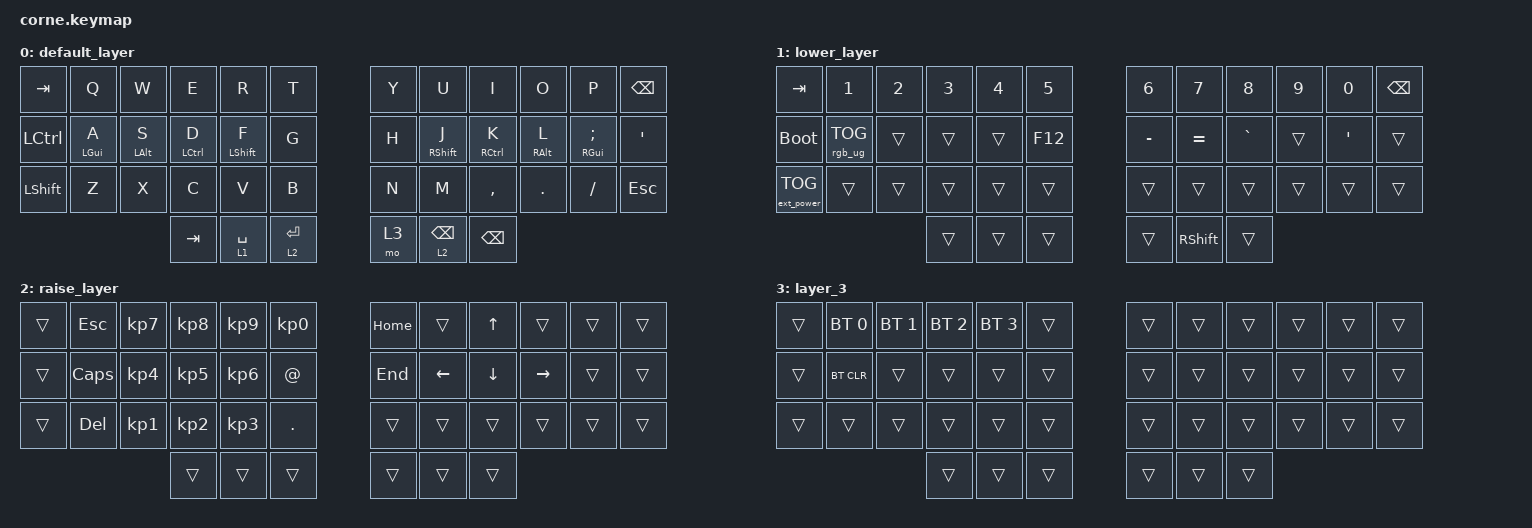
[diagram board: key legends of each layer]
/*
 * Copyright (c) 2020 The ZMK Contributors
 *
 * SPDX-License-Identifier: MIT
 */

#include <behaviors.dtsi>                   // 標準のビヘイビア定義（hold-tapなど）
#include <dt-bindings/zmk/bt.h>             // Bluetooth関連のバインディング（BT_SEL など）
#include <dt-bindings/zmk/keys.h>           // キーコード定義（A, B, C, ENTERなど）
#include <dt-bindings/zmk/rgb.h>            // RGB関連のバインディング（RGB_TOGなど）
#include <dt-bindings/zmk/ext_power.h>      // 外部電源制御（EP_TOGなど）
/ {
    behaviors {
        // ホームポジションモディファイア用ビヘイビア定義
        // タップ時は通常キー、長押し時はモディファイアとして動作
        hm: homerow_mods {
            compatible = "zmk,behavior-hold-tap";
            label = "HOMEROW_MODS";
            #binding-cells = <2>;
            tapping-term-ms = <200>;        // ホールドと判定されるまでの時間（ms）
            quick_tap_ms = <0>;             // クイックタップの判定時間（0は無効）
            flavor = "tap-preferred";       // タップ優先（holdよりtapを優先）
            bindings = <&kp>, <&kp>;        // 第1引数: tap時のキー、第2引数: hold時のキー
            quick-tap-ms = <180>;           // クイックタップを180msで有効化（旧形式の互換性？）
            global-quick-tap;               // グローバルにクイックタップを有効
        };
        // &ltq: Layer Tap（タップでキー、ホールドでレイヤー切り替え）＋クイックタップ対応
        ltq: ltq {
            compatible = "zmk,behavior-hold-tap";
            label = "LTQ";
            bindings = <&mo>, <&kp>;        // mo: hold時に移動するレイヤー、kp: tap時のキー
            #binding-cells = <2>;
            tapping-term-ms = <600>;        // 長めのホールド判定時間（ms）
            global-quick-tap;
            quick-tap-ms = <400>;           // クイックタップ有効化
        };
    };

    combos {
        compatible = "zmk,combos";

        left_bkt {
            bindings = <&kp LEFT_BRACKET>;
            key-positions = <4 3>;
            timeout-ms = <50>;
        };

        right_bkt {
            bindings = <&kp RBKT>;
            key-positions = <7 8>;
            timeout-ms = <50>;
        };

        left_par {
            bindings = <&kp LEFT_PARENTHESIS>;
            key-positions = <15 16>;
            timeout-ms = <50>;
        };

        right_par {
            bindings = <&kp RIGHT_PARENTHESIS>;
            key-positions = <19 20>;
            timeout-ms = <50>;
        };

        left_brace {
            bindings = <&kp LEFT_BRACE>;
            key-positions = <27 28>;
            timeout-ms = <50>;
        };

        right_brace {
            bindings = <&kp RIGHT_BRACE>;
            key-positions = <32 31>;
            timeout-ms = <50>;
        };

        bac {
            bindings = <&kp BACKSLASH>;
            key-positions = <5 6>;
        };

        pipe {
            bindings = <&kp PIPE>;
            key-positions = <17 18>;

        };
    };
    keymap {
        compatible = "zmk,keymap";

        default_layer {
// -------------------------------------------------------------------------------------------------------------------------------------------------
// |  TAB |  Q          |  W        |  E     |  R        |  T    |   |  Y  |  U     |  I    |  O        |  P   | BKSP |
// | CTRL |  A LEFT_GUI | S LEFT_ALT|D LCTRL|F LEFT_SHIFT|  G    |   |  H  |J RSHIFT|K RCTRL|L RIGHT_ALT|; RGUI|  '   |
// | SHFT |  Z          |  X        |  C     |  V        |  B    |   |  N  |  M     |  ,    |  .        |  /   | ESC  |
//                                           | TAB | SPC |ENT LWR|   | RSE | BKSP LWR | BKSP |
// -------------------------------------------------------------------------------------------------------------------------------------------------
// &mo 3 -> layer 3

            bindings = <
&kp TAB    &kp Q           &kp W           &kp E        &kp R             &kp T        &kp Y  &kp U             &kp I          &kp O            &kp P               &kp BSPC
&kp LCTRL  &hm LEFT_GUI A  &hm LEFT_ALT S  &hm LCTRL D  &hm LEFT_SHIFT F  &kp G        &kp H  &hm RSHIFT J      &hm RCTRL K    &hm RIGHT_ALT L  &hm RGUI SEMICOLON  &kp SQT
&kp LSHFT  &kp Z           &kp X           &kp C        &kp V             &kp B        &kp N  &kp M             &kp COMMA      &kp DOT          &kp FSLH            &kp ESC
                                           &kp TAB      &lt 1 SPACE       &lt 2 ENTER  &mo 3  &ltq 2 BACKSPACE  &kp BACKSPACE
            >;
        };

        lower_layer {
// -------------------------------------------------------------------------------------------------------------------------------------------------
// |  TAB  |  1          |  2        |  3     |  4        |  5    |   |  6  |  7     |  8    |  9        |  0   | BKSP |
// | bootl | RGB_TOG     | 未使用   |未使用 |未使用     |  F12  |   |  -  |   =     |  `    |未使用     |  '   |未使用 |
// | EP_TOG| 未使用      | 未使用   |未使用 |未使用     |未使用 |   |未使用| 未使用 |  ,    |  .        |  /   |未使用 |
//                                    | TAB | SPC |ENT LWR|   | RSE | BKSP LWR | BKSP |
// -------------------------------------------------------------------------------------------------------------------------------------------------
// &bootloader: ブートローダーモードに入るキー（ファーム更新用）
// &rgb_ug RGB_TOG: RGBライティングのトグル
// &ext_power EP_TOG: 外部電源のトグル（例：Bluetoothモジュール用）
            bindings = <
&kp TAB      &kp N1  &kp N2  &kp N3  &kp N4  &kp N5   &kp N6     &kp N7           &kp N8     &kp N9  &kp N0   &kp BSPC
&bootloader  &rgb_ug RGB_TOG  &trans  &trans  &trans  &kp F12  &kp MINUS  &kp EQUAL        &kp GRAVE  &trans  &kp SQT  &trans
&ext_power EP_TOG       &trans  &trans  &trans  &trans  &trans   &trans     &trans           &trans     &trans  &trans   &trans
                             &trans  &trans  &trans   &trans     &kp RIGHT_SHIFT  &trans
            >;
        };

        raise_layer {
// -------------------------------------------------------------------------------------------------------------------------------------------------
// |        | ESC |  KP7   |  KP8   |  KP9   |  KP0   |   | HOME |        |  ↑    |        |        |        |
// |        | CAPS|  KP4   |  KP5   |  KP6   |  @     |   | END  | ←      |  ↓    |  →     |        |        |
// |        | DEL |  KP1   |  KP2   |  KP3   |  .     |   |      |        |        |        |        |        |
//                          |        |        |        |        |        |        |
// -------------------------------------------------------------------------------------------------------------------------------------------------
// 数字テンキーとナビゲーションキーを含むレイヤー
// &kp KP_NUMBER_X: テンキー風の数字入力
// &kp HOME/END/CAPS/DELETE など: 基本的な編集・ナビゲーション操作
            bindings = <
&trans  &kp ESC     &kp KP_NUMBER_7  &kp KP_NUMBER_8  &kp KP_NUMBER_9  &kp KP_NUMBER_0  &kp HOME  &trans    &kp UP    &trans     &trans  &trans
&trans  &kp CAPS    &kp KP_NUMBER_4  &kp KP_NUMBER_5  &kp KP_NUMBER_6  &kp AT           &kp END   &kp LEFT  &kp DOWN  &kp RIGHT  &trans  &trans
&trans  &kp DELETE  &kp KP_NUMBER_1  &kp KP_NUMBER_2  &kp KP_NUMBER_3  &kp DOT          &trans    &trans    &trans    &trans     &trans  &trans
                                     &trans           &trans           &trans           &trans    &trans    &trans
            >;
        };

        layer_3 {
// -------------------------------------------------------------------------------------------------------------------------------------------------
// |        | BT0 | BT1 | BT2 | BT3 |        |        |        |        |        |        |        |
// |        | CLR |     |     |     |        |        |        |        |        |        |        |
// |        |     |     |     |     |        |        |        |        |        |        |        |
//                          |        |        |        |        |        |        |
// -------------------------------------------------------------------------------------------------------------------------------------------------
// Bluetoothレイヤー
// &bt BT_SEL n: Bluetoothプロファイル n を選択（n = 0〜4）
// &bt BT_CLR: Bluetoothペアリング情報のクリア

            bindings = <
&trans  &bt BT_SEL 0  &bt BT_SEL 1  &bt BT_SEL 2  &bt BT_SEL 3  &trans  &trans  &trans  &trans  &trans  &trans  &trans
&trans  &bt BT_CLR    &trans        &trans        &trans        &trans  &trans  &trans  &trans  &trans  &trans  &trans
&trans  &trans        &trans        &trans        &trans        &trans  &trans  &trans  &trans  &trans  &trans  &trans
                                    &trans        &trans        &trans  &trans  &trans  &trans
            >;
        };
        extra1 {
            status = "reserved";
        };
        extra2 {
            status = "reserved";
        };
        extra3 {
            status = "reserved";
        };
        extra4 {
            status = "reserved";
        };

    };
};
